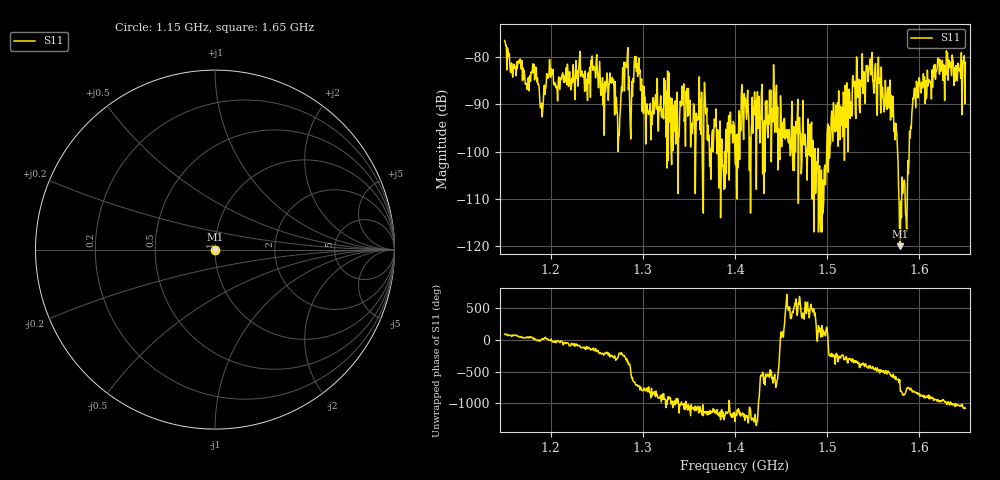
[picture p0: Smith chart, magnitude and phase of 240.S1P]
! C:\Users\rflab\Downloads\Lab5_KD_ZW\Q2\240.S1P
! Touchstone 1.1 file saved by VNA.EXE V1.65 (www.ke5fx.com/gpib/readme.htm)
! 11/12/2024 1:29:15 AM
!  Source: HEWLETT PACKARD,8753D,0,6.14
!  Min freq: 1.150000E+009 Hz
!  Max freq: 1.650000E+009 Hz
!  Points: 801
!  Params: S21
# GHZ S RI R 50
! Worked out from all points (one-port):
!   801 points, 1.15 GHz to 1.65 GHz, reference 50 ohm
!   lowest |S11| = -120.0 dB at 1.579 GHz (marker M1), VSWR 1.00, Z = 50 + j0.0001 ohm
!   |S11| at or under -10 dB: start of sweep to end of sweep
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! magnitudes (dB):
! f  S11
! 1.15 GHz  -76.5
! 1.151 GHz  -77.6
! 1.154 GHz  -78.8
! 1.155 GHz  -79.2
! 1.158 GHz  -82.0
! 1.212 GHz  -83.6
! 1.229 GHz  -82.9
! 1.229 GHz  -86.2
! 1.234 GHz  -83.3
! 1.235 GHz  -84.2
! 1.275 GHz  -92.8
! 1.281 GHz  -81.1
! 1.281 GHz  -81.9
! 1.286 GHz  -93.9
! 1.287 GHz  -97.3
! 1.337 GHz  -91.1
! 1.4 GHz  -101.0
! 1.462 GHz  -101.9
! 1.525 GHz  -93.0
! 1.546 GHz  -82.5
! 1.547 GHz  -80.4
! 1.579 GHz  -120.0
! 1.587 GHz  -101.9
! 1.626 GHz  -81.6
! 1.628 GHz  -81.8
! 1.632 GHz  -80.6
! 1.634 GHz  -81.0
! 1.65 GHz  -81.1
